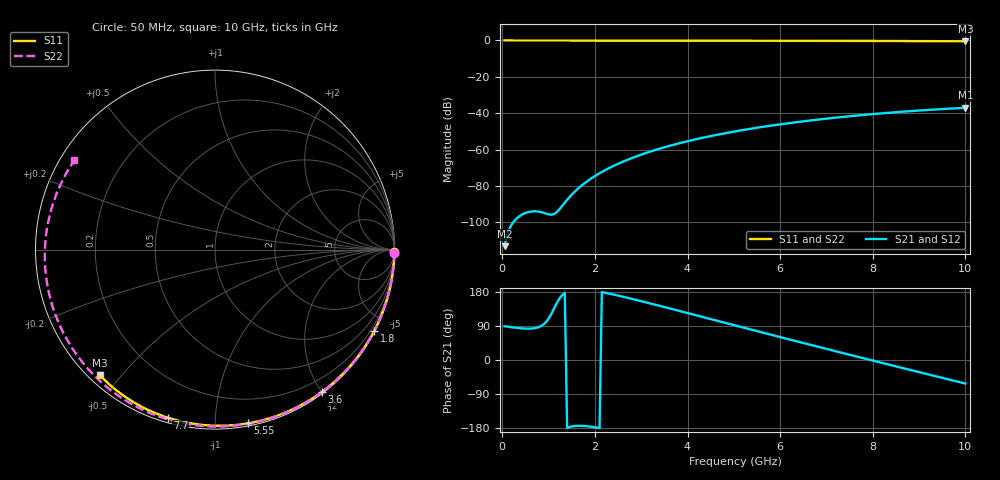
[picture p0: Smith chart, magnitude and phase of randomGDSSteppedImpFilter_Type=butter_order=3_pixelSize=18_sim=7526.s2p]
! freq	dB(S11)	phase(S11)	dB(S12)	phase(S12)
!  dB(S21)	phase(S21)	dB(S22)	phase(S22)
!S-par simulation data
#  GHz  S  DB  R 50
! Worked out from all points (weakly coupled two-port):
!   200 points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, 50 MHz to 10 GHz, reference 50 ohm
!   highest |S21| = -37.04 dB at 10 GHz (marker M1); lowest = -113.1 dB at 50 MHz (marker M2)
!   lowest |S11| = -0.4 dB at 10 GHz (marker M3), VSWR 38.82, Z = 1.54 - j22 ohm
!   |S11| at or under -10 dB: nowhere
!   |S22| runs from -0.6 to 0.0 dB; largest |S21 - S12| = 0
!   S11 on the Smith chart (normalised r, x): 50 MHz: open; 1.8 GHz: 0.04, -4.15; 3.6 GHz: 0.02, -2.00; 5.55 GHz: 0.02, -1.21; 7.7 GHz: 0.02, -0.76; 10 GHz: 0.03, -0.44
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0.05  -0.00 -0.8  -113.13 89.1  -113.13 89.1  -0.00 -1.2
0.85  -0.02 -12.9  -94.49 90.6  -94.49 90.6  -0.02 -19.5
1.7  -0.03 -25.6  -80.03 -173.6  -80.03 -173.6  -0.05 -38.6
1.75  -0.03 -26.4  -79.00 -173.9  -79.00 -173.9  -0.05 -39.7
1.8  -0.03 -27.1  -78.03 -174.4  -78.03 -174.4  -0.05 -40.8
2.1  -0.04 -31.5  -73.01 -179.7  -73.01 -179.7  -0.06 -47.4
2.5  -0.05 -37.4  -67.82 170.0  -67.82 170.0  -0.07 -56.1
2.9  -0.06 -43.1  -63.69 158.3  -63.69 158.3  -0.08 -64.6
3.4  -0.07 -50.2  -59.49 142.8  -59.49 142.8  -0.10 -75.0
3.6  -0.07 -53.0  -58.03 136.6  -58.03 136.6  -0.11 -79.2
4.3  -0.09 -62.7  -53.65 114.3  -53.65 114.3  -0.13 -93.3
5.05  -0.11 -72.7  -49.90 90.5  -49.90 90.5  -0.17 -108.1
5.55  -0.13 -79.2  -47.80 74.6  -47.80 74.6  -0.19 -117.9
6.1  -0.15 -86.2  -45.78 57.3  -45.78 57.3  -0.23 -128.5
6.7  -0.18 -93.7  -43.85 38.5  -43.85 38.5  -0.27 -140.2
7.2  -0.21 -99.8  -42.44 23.0  -42.44 23.0  -0.32 -150.1
7.7  -0.24 -105.8  -41.18 7.6  -41.18 7.6  -0.36 -160.1
8.35  -0.29 -113.4  -39.75 -12.3  -39.75 -12.3  -0.43 -173.7
8.8  -0.33 -118.7  -38.88 -26.0  -38.88 -26.0  -0.49 176.4
9.2  -0.36 -123.3  -38.19 -38.1  -38.19 -38.1  -0.54 167.3
9.6  -0.40 -127.9  -37.58 -50.2  -37.58 -50.2  -0.59 157.7
10  -0.45 -132.4  -37.04 -62.3  -37.04 -62.3  -0.65 147.5
